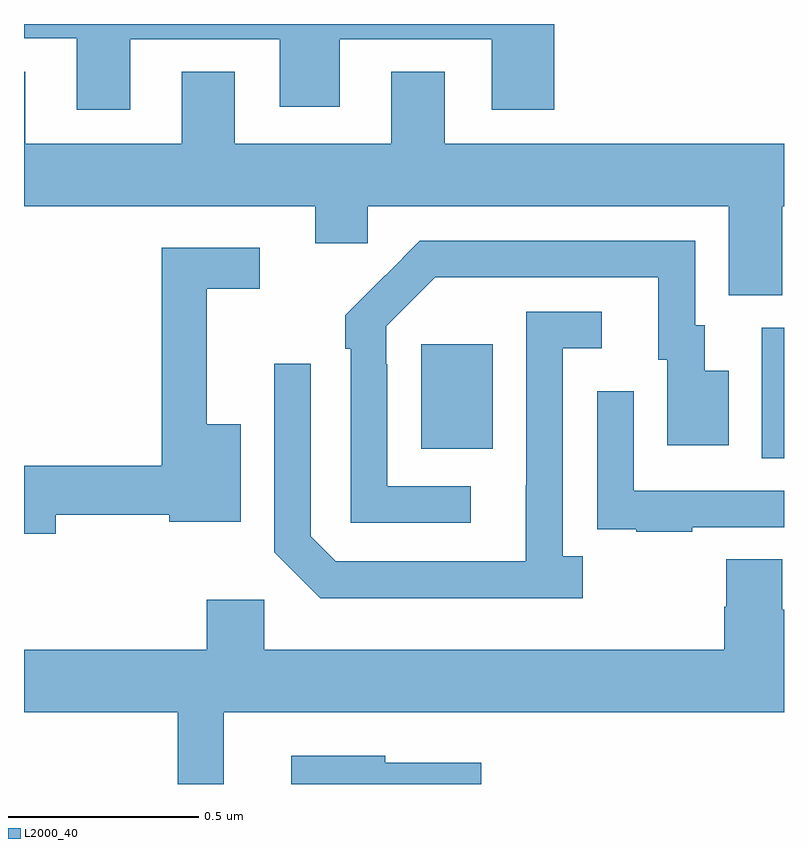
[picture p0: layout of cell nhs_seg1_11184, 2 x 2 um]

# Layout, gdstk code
import gdstk
lib = gdstk.Library(unit=1e-6, precision=1e-09)
def R(c, l, rs):  # rectangles x0, y0, x1, y1
    for r in rs: c.add(gdstk.rectangle(r[:2], r[2:], *l))
def P(c, l, *ps):  # polygons
    for p in ps: c.add(gdstk.Polygon(p, *l))
L2000_40 = (2000, 40)

nhs_seg1_11184 = lib.new_cell('nhs_seg1_11184')
R(nhs_seg1_11184, L2000_40, [(251.942,563.056,252,563.4), (251.045,563.081,251.233,563.356)])
P(nhs_seg1_11184, L2000_40, [(250.279,564.159),(250.673,564.159),(250.673,563.981),(250.831,563.981),(250.831,564.159),(251.231,564.159),(251.231,563.973),(251.396,563.973),(251.396,564.199),(250,564.199),(250,564.162),(250.139,564.162),(250.139,563.973),(250.279,563.973)],
  [(251.995,563.72),(252,563.72),(252,563.884),(251.107,563.884),(251.107,564.074),(250.967,564.074),(250.967,563.884),(250.555,563.884),(250.555,564.074),(250.415,564.074),(250.415,563.884),(250.003,563.884),(250.003,564.074),(250,564.074),(250,563.72),(250.766,563.72),(250.766,563.622),(250.905,563.622),(250.905,563.72),(251.855,563.72),(251.855,563.485),(251.995,563.485)],
  [(251.176,562.983),(250.956,562.983),(250.956,563.303),(250.953,563.303),(250.953,563.403),(251.082,563.532),(251.669,563.532),(251.669,563.316),(251.693,563.316),(251.693,563.091),(251.854,563.091),(251.854,563.287),(251.791,563.287),(251.791,563.406),(251.766,563.406),(251.766,563.628),(251.042,563.628),(250.951,563.537),(250.95,563.538),(250.845,563.433),(250.845,563.345),(250.86,563.345),(250.86,562.887),(251.176,562.887)],
  [(250.084,562.908),(250.382,562.908),(250.382,562.889),(250.57,562.889),(250.57,563.146),(250.481,563.146),(250.481,563.502),(250.621,563.502),(250.621,563.61),(250.363,563.61),(250.363,563.036),(250,563.036),(250,562.858),(250.084,562.858)],
  [(251.47,562.798),(251.418,562.798),(251.418,563.346),(251.521,563.346),(251.521,563.442),(251.322,563.442),(251.322,562.985),(251.321,562.985),(251.321,562.785),(250.821,562.785),(250.755,562.851),(250.755,563.305),(250.659,563.305),(250.659,562.809),(250.78,562.688),(251.47,562.688)],
  [(251.759,562.875),(252,562.875),(252,562.971),(251.604,562.971),(251.604,563.233),(251.508,563.233),(251.508,562.978),(251.509,562.978),(251.509,562.869),(251.611,562.869),(251.611,562.863),(251.759,562.863)],
  [(250.481,562.552),(250,562.552),(250,562.388),(250.404,562.388),(250.404,562.199),(250.525,562.199),(250.525,562.388),(252,562.388),(252,562.658),(251.995,562.658),(251.995,562.79),(251.848,562.79),(251.848,562.665),(251.843,562.665),(251.843,562.552),(250.632,562.552),(250.632,562.684),(250.481,562.684)],
  [(251.203,562.255),(250.95,562.255),(250.95,562.273),(250.703,562.273),(250.703,562.199),(251.203,562.199)])

lib.write_gds('nhs_seg1_11184.gds')
